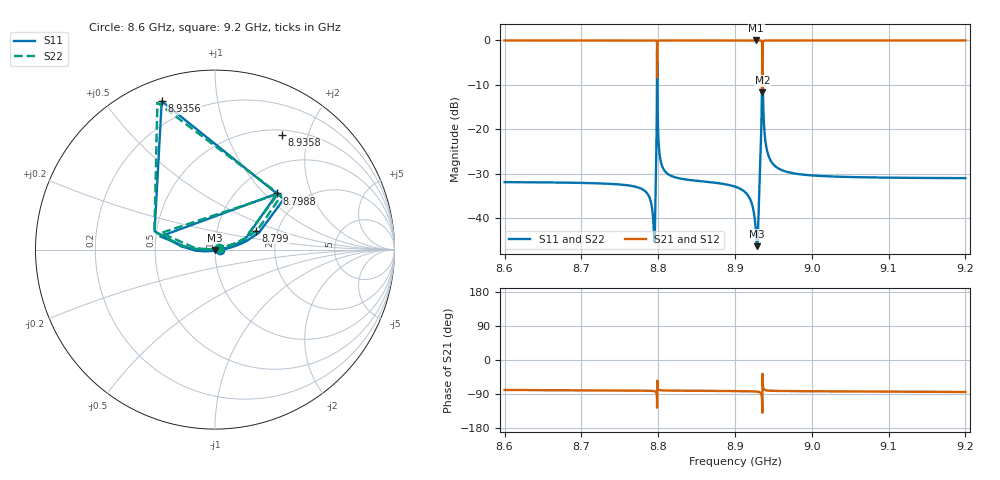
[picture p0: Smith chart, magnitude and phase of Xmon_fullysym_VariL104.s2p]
! Sonnet Data File
! From: emgraph Version : 16.52
! From Project: 171117_Xmon_fullysym
! Data is De-embedded
! Data File Written: 11/26/2017 21:44:47
!< HDATE 11/26/2017 17:24:49
!< MDATE 11/26/2017 17:24:49
!< PARAMS
!< Lj = 11.0
!< Gap = 1.0
!< Pwid = 2000.0
!< Airgap = 6.0
!< Width = 10.0
!< Lj1 = 10.4
!< END PARAMS
# GHZ S MA R 50.90000
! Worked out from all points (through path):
!   3001 points, 8.6 GHz to 9.2 GHz, reference 50.9 ohm
!   highest |S21| = 0.00 dB at 8.9274 GHz (marker M1); lowest = -11.7 dB at 8.9356 GHz (marker M2)
!   lowest |S11| = -46.3 dB at 8.9288 GHz (marker M3), VSWR 1.01, Z = 51 - j0.489 ohm
!   |S11| at or under -10 dB: start of sweep to 8.7984 GHz; 8.7989 GHz to 8.9351 GHz (136.2 MHz wide, 1.54 % of centre); 8.9363 GHz to end of sweep
!   |S22| runs from -46.0 to -1.1 dB; largest |S21 - S12| = 1.5e-10
!   S11 on the Smith chart (normalised r, x): 8.6 GHz: 1.05, -0.00; 8.7988 GHz: 1.49, +1.19; 8.799 GHz: 1.55, +0.35; 8.9356 GHz: 0.10, +0.70; 8.9358 GHz: 0.57, +1.60; 9.2 GHz: 1.06, -0.01
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8.6  0.02543 -0.4  0.9997 -79.0  0.9997 -79.0  0.02543 22.4
!< P1 F=8.6 Eeff=(6.44845572 -2.9799e-5) Z0=(50.9087207 1.17006e-4) R=0.0 C=0.0
!< P2 F=8.6 Eeff=(6.44845572 -2.9799e-5) Z0=(50.9087207 1.17006e-4) R=0.0 C=0.0
8.7  0.02494 -1.8  0.9997 -80.0  0.9997 -80.0  0.02494 21.9
8.778  0.02144 -5.0  0.9998 -80.9  0.9998 -80.9  0.02145 23.3
8.7934  0.009879 -24.8  0.9999 -81.8  0.9999 -81.8  0.009949 41.9
8.7988  0.4668 42.1  0.8338 -54.6  0.8338 -54.6  0.4678 41.4
8.799  0.2534 24.8  0.9554 -67.6  0.9554 -67.6  0.2539 25.4
8.8002  0.0804 9.7  0.9961 -77.7  0.9961 -77.7  0.0805 15.9
8.8046  0.03971 2.8  0.9992 -80.1  0.9992 -80.1  0.03972 17.2
8.8134  0.03104 -0.1  0.9995 -80.7  0.9995 -80.7  0.03104 18.8
8.9002  0.02261 -5.3  0.9997 -82.0  0.9997 -82.0  0.02262 21.4
8.919  0.01682 -10.3  0.9998 -82.5  0.9998 -82.5  0.01683 25.4
8.9274  0.006805 -39.6  0.9999 -83.2  0.9999 -83.2  0.006881 53.8
8.9288  0.004838 -82.2  0.9999 -83.5  0.9999 -83.5  0.00499 95.3
8.9308  0.01193 -151.5  0.9998 -84.1  0.9998 -84.1  0.01205 161.9
8.9336  0.06289 -174.3  0.9972 -87.1  0.9972 -87.1  0.06301 178.6
8.9356  0.8788 109.7  0.2604 -139.1  0.2604 -139.1  0.8797 111.4
8.9358  0.7394 59.6  0.5886 -36.3  0.5886 -36.3  0.7401 61.8
8.942  0.05632 3.8  0.9983 -80.4  0.9983 -80.4  0.05633 15.6
8.9496  0.0406 0.8  0.9992 -81.4  0.9992 -81.4  0.0406 16.5
9.0002  0.03027 -2.8  0.9995 -82.4  0.9995 -82.4  0.03027 17.9
9.1  0.02857 -4.6  0.9996 -83.5  0.9996 -83.5  0.02857 17.7
9.2  0.02822 -5.9  0.9996 -84.4  0.9996 -84.4  0.02822 17.1
